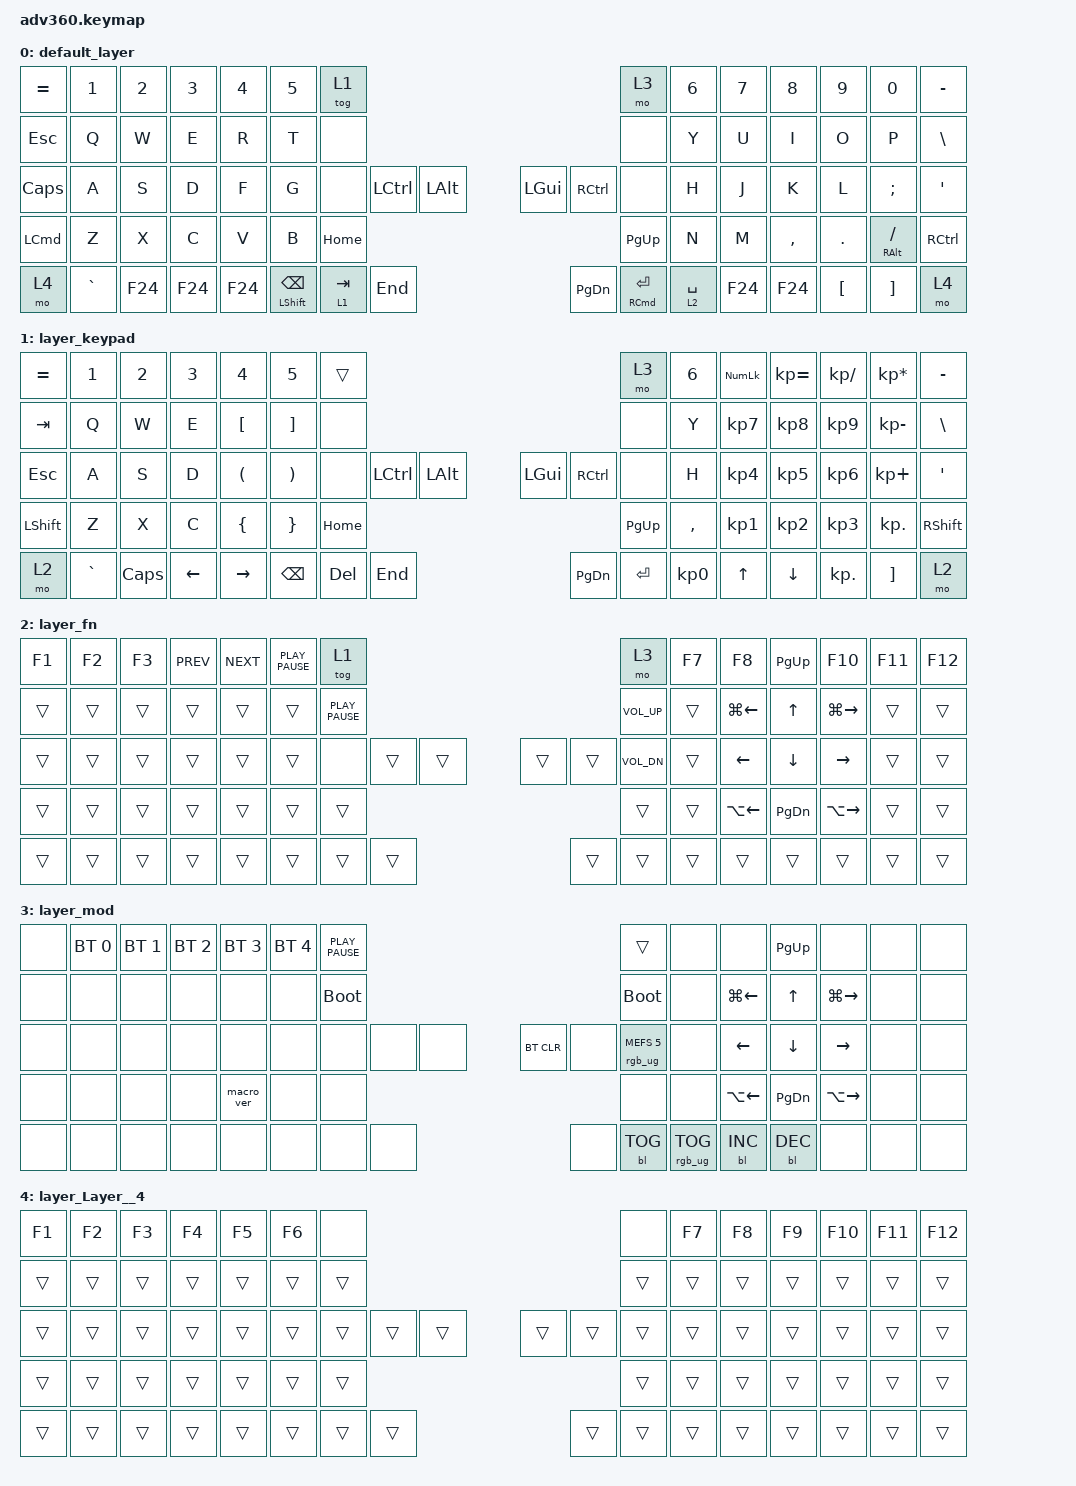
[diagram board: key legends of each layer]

/*
 * Copyright (c) 2020 The ZMK Contributors
 *
 * SPDX-License-Identifier: MIT
 */


/* THIS FILE WAS GENERATED!
 *
 * This file was generated automatically. You may or may not want to
 * edit it directly.
 */

#include <behaviors.dtsi>
#include <dt-bindings/zmk/keys.h>
#include <dt-bindings/zmk/bt.h>
#include <dt-bindings/zmk/rgb.h>
#include <dt-bindings/zmk/backlight.h>

/ {
  behaviors {
    #include "macros.dtsi"
    #include "version.dtsi"

    hm: homerow_mods {
        compatible = "zmk,behavior-hold-tap";
        label = "HOMEROW_MODS";
        #binding-cells = <2>;
        tapping-term-ms = <200>;
        quick_tap_ms = <175>;
        flavor = "tap-preferred";
        bindings = <&kp>, <&kp>;
    };
  };

    keymap {
        compatible = "zmk,keymap";


        default_layer {
            bindings = <
        &kp EQUAL   &kp N1   &kp N2   &kp N3   &kp N4  &kp N5                         &tog 1                                                                                 &mo 3  &kp N6   &kp N7     &kp N8    &kp N9               &kp N0  &kp MINUS
          &kp ESC    &kp Q    &kp W    &kp E    &kp R   &kp T                          &none                                                                                 &none   &kp Y    &kp U      &kp I     &kp O                &kp P   &kp BSLH
         &kp CAPS    &kp A    &kp S    &kp D    &kp F   &kp G                          &none  &kp LCTRL  &kp LALT                   &kp LGUI                &kp RCTRL        &none   &kp H    &kp J      &kp K     &kp L             &kp SEMI    &kp SQT
 &kp LEFT_COMMAND    &kp Z    &kp X    &kp C    &kp V   &kp B                                            &kp HOME                  &kp PG_UP                                         &kp N    &kp M  &kp COMMA   &kp DOT  &mt RIGHT_ALT SLASH  &kp RCTRL
            &mo 4  &kp GRAVE  &kp F24  &kp F24  &kp F24                    &mt LSHFT BACKSPACE  &lt 1 TAB   &kp END                  &kp PG_DN  &mt RIGHT_COMMAND ENTER  &lt 2 SPACE          &kp F24    &kp F24  &kp LBKT             &kp RBKT      &mo 4
            >;
        };

        layer_keypad {
            bindings = <
 &kp EQUAL     &kp N1    &kp N2    &kp N3                &kp N4                 &kp N5              &trans                                                                 &mo 3     &kp N6  &kp KP_NUM  &kp KP_EQUAL  &kp KP_DIVIDE  &kp KP_MULTIPLY  &kp MINUS
   &kp TAB      &kp Q     &kp W     &kp E      &kp LEFT_BRACKET      &kp RIGHT_BRACKET               &none                                                                 &none      &kp Y   &kp KP_N7     &kp KP_N8      &kp KP_N9     &kp KP_MINUS   &kp BSLH
   &kp ESC      &kp A     &kp S     &kp D  &kp LEFT_PARENTHESIS  &kp RIGHT_PARENTHESIS               &none  &kp LCTRL  &kp LALT                   &kp LGUI  &kp RCTRL      &none      &kp H   &kp KP_N4     &kp KP_N5      &kp KP_N6      &kp KP_PLUS    &kp SQT
 &kp LSHFT      &kp Z     &kp X     &kp C        &kp LEFT_BRACE        &kp RIGHT_BRACE                                 &kp HOME                  &kp PG_UP                        &kp COMMA   &kp KP_N1     &kp KP_N2      &kp KP_N3       &kp KP_DOT  &kp RSHFT
     &mo 2  &kp GRAVE  &kp CAPS  &kp LEFT             &kp RIGHT                                   &kp BSPC    &kp DEL   &kp END                  &kp PG_DN  &kp ENTER  &kp KP_N0                 &kp UP      &kp DOWN     &kp KP_DOT         &kp RBKT      &mo 2
            >;
        };

        layer_fn {
            bindings = <
 &kp F1  &kp F2  &kp F3  &kp K_PREV  &kp K_NEXT  &kp K_PLAY_PAUSE                      &tog 1                                                         &mo 3  &kp F7              &kp F8     &kp PAGE_UP              &kp F10  &kp F11  &kp F12
 &trans  &trans  &trans      &trans      &trans            &trans            &kp K_PLAY_PAUSE                                                  &kp K_VOL_UP  &trans  &kp LG(LEFT_ARROW)    &kp UP_ARROW  &kp LG(RIGHT_ARROW)   &trans   &trans
 &trans  &trans  &trans      &trans      &trans            &trans                       &none  &trans  &trans                  &trans  &trans  &kp K_VOL_DN  &trans      &kp LEFT_ARROW  &kp DOWN_ARROW      &kp RIGHT_ARROW   &trans   &trans
 &trans  &trans  &trans      &trans      &trans            &trans                                      &trans                  &trans                        &trans  &kp LA(LEFT_ARROW)   &kp PAGE_DOWN  &kp LA(RIGHT_ARROW)   &trans   &trans
 &trans  &trans  &trans      &trans      &trans                                        &trans  &trans  &trans                  &trans  &trans        &trans                      &trans          &trans               &trans   &trans   &trans
            >;
        };

        layer_mod {
            bindings = <
  &none  &bt BT_SEL 0  &bt BT_SEL 1  &bt BT_SEL 2  &bt BT_SEL 3  &bt BT_SEL 4            &kp K_PLAY_PAUSE                                                                          &trans   &none               &none     &kp PAGE_UP                &none   &none   &none
  &none         &none         &none         &none         &none         &none                 &bootloader                                                                     &bootloader   &none  &kp LG(LEFT_ARROW)    &kp UP_ARROW  &kp LG(RIGHT_ARROW)   &none   &none
  &none         &none         &none         &none         &none         &none                       &none   &none   &none                  &bt BT_CLR       &none  &rgb_ug RGB_MEFS_CMD 5   &none      &kp LEFT_ARROW  &kp DOWN_ARROW      &kp RIGHT_ARROW   &none   &none
  &none         &none         &none         &none    &macro_ver         &none                                       &none                       &none                                       &none  &kp LA(LEFT_ARROW)   &kp PAGE_DOWN  &kp LA(RIGHT_ARROW)   &none   &none
  &none         &none         &none         &none         &none                                     &none   &none   &none                       &none  &bl BL_TOG         &rgb_ug RGB_TOG                  &bl BL_INC      &bl BL_DEC                &none   &none   &none
            >;
        };

        layer_Layer__4 {
            bindings = <
 &kp F1  &kp F2  &kp F3  &kp F4  &kp F5  &kp F6             &none                                                   &none  &kp F7  &kp F8  &kp F9  &kp F10  &kp F11  &kp F12
 &trans  &trans  &trans  &trans  &trans  &trans            &trans                                                  &trans  &trans  &trans  &trans   &trans   &trans   &trans
 &trans  &trans  &trans  &trans  &trans  &trans            &trans  &trans  &trans                  &trans  &trans  &trans  &trans  &trans  &trans   &trans   &trans   &trans
 &trans  &trans  &trans  &trans  &trans  &trans                            &trans                  &trans                  &trans  &trans  &trans   &trans   &trans   &trans
 &trans  &trans  &trans  &trans  &trans                    &trans  &trans  &trans                  &trans  &trans  &trans          &trans  &trans   &trans   &trans   &trans
            >;
        };

    };
};
